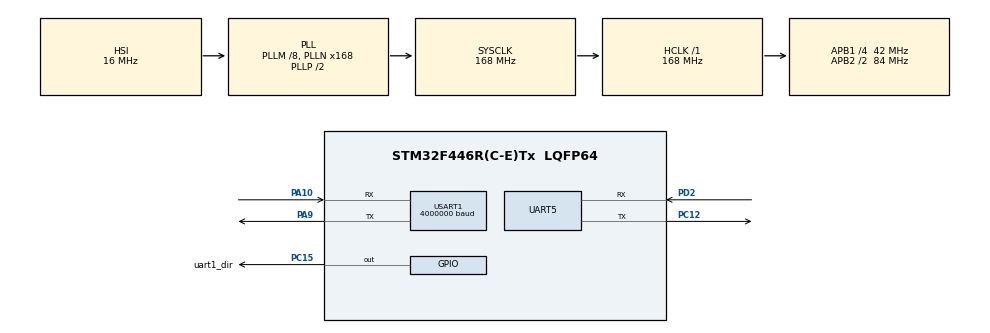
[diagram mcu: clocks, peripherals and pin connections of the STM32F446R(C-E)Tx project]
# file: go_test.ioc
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Dma.Request0=UART5_TX
Dma.UART5_TX.0.Direction=DMA_MEMORY_TO_PERIPH
Dma.UART5_TX.0.FIFOMode=DMA_FIFOMODE_DISABLE
Dma.UART5_TX.0.Instance=DMA1_Stream7
Dma.UART5_TX.0.MemDataAlignment=DMA_MDATAALIGN_BYTE
Dma.UART5_TX.0.MemInc=DMA_MINC_ENABLE
Dma.UART5_TX.0.Mode=DMA_NORMAL
Dma.UART5_TX.0.PeriphDataAlignment=DMA_PDATAALIGN_BYTE
Dma.UART5_TX.0.PeriphInc=DMA_PINC_DISABLE
Dma.UART5_TX.0.Priority=DMA_PRIORITY_LOW
Mcu.Family=STM32F4
Mcu.Name=STM32F446R(C-E)Tx
Mcu.Package=LQFP64
NVIC.DMA1_Stream7_IRQn=true\:0\:0\:false\:false\:true\:false\:true\:true
NVIC.PriorityGroup=NVIC_PRIORITYGROUP_4
PA10.Mode=Asynchronous
PA10.Signal=USART1_RX
PA13.Mode=Serial_Wire
PA13.Signal=SYS_JTMS-SWDIO
PA14.Mode=Serial_Wire
PA14.Signal=SYS_JTCK-SWCLK
PA9.Mode=Asynchronous
PA9.Signal=USART1_TX
PC12.Mode=Asynchronous
PC12.Signal=UART5_TX
PC15-OSC32_OUT.GPIO_Label=uart1_dir
PC15-OSC32_OUT.Signal=GPIO_Output
PD2.Mode=Asynchronous
PD2.Signal=UART5_RX
ProjectManager.HeapSize=0x200
ProjectManager.StackSize=0x400
ProjectManager.TargetToolchain=CMake
RCC.AHBFreq_Value=168000000
RCC.APB1CLKDivider=RCC_HCLK_DIV4
RCC.APB1Freq_Value=42000000
RCC.APB1TimFreq_Value=84000000
RCC.APB2CLKDivider=RCC_HCLK_DIV2
RCC.APB2Freq_Value=84000000
RCC.APB2TimFreq_Value=168000000
RCC.CortexFreq_Value=168000000
RCC.HCLKFreq_Value=168000000
RCC.PLLM=8
RCC.PLLN=168
RCC.SYSCLKFreq_VALUE=168000000
RCC.SYSCLKSource=RCC_SYSCLKSOURCE_PLLCLK
RCC.USBFreq_Value=168000000
RCC.VCOOutputFreq_Value=336000000
UART5.VirtualMode=Asynchronous
USART1.BaudRate=4000000
USART1.VirtualMode=VM_ASYNC
board=custom

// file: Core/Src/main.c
/* USER CODE BEGIN Header */
/**
 ******************************************************************************
 * @file           : main.c
 * @brief          : Main program body
 ******************************************************************************
 * @attention
 *
 * Copyright (c) 2024 STMicroelectronics.
 * All rights reserved.
 *
 * This software is licensed under terms that can be found in the LICENSE file
 * in the root directory of this software component.
 * If no LICENSE file comes with this software, it is provided AS-IS.
 *
 ******************************************************************************
 */
/* USER CODE END Header */
#include "main.h"
#include "dma.h"
#include "gpio.h"
#include "stm32f4xx_hal.h"
#include "usart.h"

/* USER CODE BEGIN Includes */
#include "log.h"
#include "lpf_filter.h"
#include "motor_control.h"
#include "stdio.h"
#include "vofa.h"
#include <math.h>
#include <stdint.h>

/* USER CODE END Includes */

/* USER CODE BEGIN PD */
MOTOR_send cmd_pitch;
MOTOR_recv data_pitch;
MOTOR_send cmd_yaw;
MOTOR_recv data_yaw;
float speed_data = 0;
ButterworthLPF butter_t;
float butter_tmp;
float butter_tmp1;
uint32_t count = 0;
LPF_t lpf_filter = {.ts = 0.001, .fc = 5.1f};
/* USER CODE END PD */

void SystemClock_Config(void);
/* USER CODE BEGIN PFP */
void uart_printf(const char *fmt, ...) {
  static uint8_t tx_buf[256] = {0};
  static va_list ap;
  static uint16_t len;
  va_start(ap, fmt);
  // return length of string
  // 返回字符串长度
  len = vsprintf((char *)tx_buf, fmt, ap);
  va_end(ap);
  HAL_UART_Transmit_DMA(&huart5, tx_buf, len);
}
/* USER CODE END PFP */

int main(void) {

  /* MCU Configuration--------------------------------------------------------*/

  /* Reset of all peripherals, Initializes the Flash interface and the Systick.
   */
  HAL_Init();

  /* USER CODE BEGIN Init */
  cmd_pitch.id = 0; // 给电机控制指令结构体赋值
  cmd_pitch.mode = 1;
  cmd_pitch.T = 0;
  cmd_pitch.W = 0;
  cmd_pitch.Pos = 0;
  cmd_pitch.K_P = 0.04;
  cmd_pitch.K_W = 0.0;

  // cmd_yaw.id = 10; // 给电机控制指令结构体赋值
  // cmd_yaw.mode = 1;
  // cmd_yaw.T = 0;
  // cmd_yaw.W = 0;
  // cmd_yaw.Pos = 0;
  // cmd_yaw.K_P = 0;
  // cmd_yaw.K_W = 0.00;
  /* USER CODE END Init */

  /* Configure the system clock */
  SystemClock_Config();

  /* Initialize all configured peripherals */
  MX_GPIO_Init();
  MX_DMA_Init();
  MX_USART1_UART_Init();
  MX_UART5_Init();
  /* USER CODE BEGIN 2 */
  ButterworthLPF_init(&butter_t, 500, 3.8);
  butter_tmp = 0;

  uint8_t a = 1;

  /* USER CODE END 2 */

  /* Infinite loop */
  while (1) {

    /* USER CODE BEGIN 3 */

    HAL_Delay(500);
    cmd_pitch.Pos = 5;
    SERVO_Send_recv(&cmd_pitch, &data_pitch);
    butter_tmp1 = data_pitch.Pos/6.33;
    // if (count >= 50) {
    //   cmd_pitch.W = 20;
    //   count = 0;
    // } else {
    //   cmd_pitch.W = 10;

    // }
    // HAL_StatusTypeDef status = SERVO_Send_recv(&cmd_pitch,
    // &data_pitch);

    // count = HAL_GetTick();
    // while (HAL_GetTick() - count < 1000) {
    //   cmd_pitch.W = 40;
    //   SERVO_Send_recv(&cmd_pitch, &data_pitch);
    //   speed_data = data_pitch.W;
    //   butter_tmp1 = ButterworthLPF_update(&butter_t, speed_data);
    //   LPF_update(&lpf_filter, speed_data);
    //   float lpf_data = LPF_update(&lpf_filter, speed_data);
    //   V0fa_FireWater("%.3f,%.3f,%.3f\n", speed_data, butter_tmp1, lpf_data);
    // }
    // count = HAL_GetTick();
    // while (HAL_GetTick() - count < 1000) {
    //   cmd_pitch.W = 10;
    //   SERVO_Send_recv(&cmd_pitch, &data_pitch);
    //   speed_data = data_pitch.W;
    //   butter_tmp1 = ButterworthLPF_update(&butter_t, speed_data);
    //   float lpf_data = LPF_update(&lpf_filter, speed_data);
    //   V0fa_FireWater("%.3f,%.3f,%.3f\n", speed_data, butter_tmp1, lpf_data);
    // }

    // LOGI("status: %d", status);
    // SEGGER_RTT_Write(0, &speed_data, 4);
    // uart_printf("%f\n", butter_tmp1);
    // uart_printf("%f\n", speed_data);

    // V0fa_JustFloat(&butter_tmp1, 1);
    // show_data_to_vofa();
  }

  /* USER CODE END 3 */
}

void SystemClock_Config(void) {
  RCC_OscInitTypeDef RCC_OscInitStruct = {0};
  RCC_ClkInitTypeDef RCC_ClkInitStruct = {0};

  /** Configure the main internal regulator output voltage
   */
  __HAL_RCC_PWR_CLK_ENABLE();
  __HAL_PWR_VOLTAGESCALING_CONFIG(PWR_REGULATOR_VOLTAGE_SCALE1);

  /** Initializes the RCC Oscillators according to the specified parameters
   * in the RCC_OscInitTypeDef structure.
   */
  RCC_OscInitStruct.OscillatorType = RCC_OSCILLATORTYPE_HSI;
  RCC_OscInitStruct.HSIState = RCC_HSI_ON;
  RCC_OscInitStruct.HSICalibrationValue = RCC_HSICALIBRATION_DEFAULT;
  RCC_OscInitStruct.PLL.PLLState = RCC_PLL_ON;
  RCC_OscInitStruct.PLL.PLLSource = RCC_PLLSOURCE_HSI;
  RCC_OscInitStruct.PLL.PLLM = 8;
  RCC_OscInitStruct.PLL.PLLN = 168;
  RCC_OscInitStruct.PLL.PLLP = RCC_PLLP_DIV2;
  RCC_OscInitStruct.PLL.PLLQ = 2;
  RCC_OscInitStruct.PLL.PLLR = 2;
  if (HAL_RCC_OscConfig(&RCC_OscInitStruct) != HAL_OK) {
    Error_Handler();
  }

  /** Initializes the CPU, AHB and APB buses clocks
   */
  RCC_ClkInitStruct.ClockType = RCC_CLOCKTYPE_HCLK | RCC_CLOCKTYPE_SYSCLK |
                                RCC_CLOCKTYPE_PCLK1 | RCC_CLOCKTYPE_PCLK2;
  RCC_ClkInitStruct.SYSCLKSource = RCC_SYSCLKSOURCE_PLLCLK;
  RCC_ClkInitStruct.AHBCLKDivider = RCC_SYSCLK_DIV1;
  RCC_ClkInitStruct.APB1CLKDivider = RCC_HCLK_DIV4;
  RCC_ClkInitStruct.APB2CLKDivider = RCC_HCLK_DIV2;

  if (HAL_RCC_ClockConfig(&RCC_ClkInitStruct, FLASH_LATENCY_5) != HAL_OK) {
    Error_Handler();
  }
}

void Error_Handler(void) {
  __disable_irq();
  while (1) {
  }
}

#ifdef USE_FULL_ASSERT
/**
 * @brief  Reports the name of the source file and the source line number
 *         where the assert_param error has occurred.
 * @param  file: pointer to the source file name
 * @param  line: assert_param error line source number
 * @retval None
 */
void assert_failed(uint8_t *file, uint32_t line) {
  /* USER CODE BEGIN 6 */
  /* User can add his own implementation to report the file name and line
     number, ex: printf("Wrong parameters value: file %s on line %d\r\n", file,
     line) */
  /* USER CODE END 6 */
}
#endif /* USE_FULL_ASSERT */
